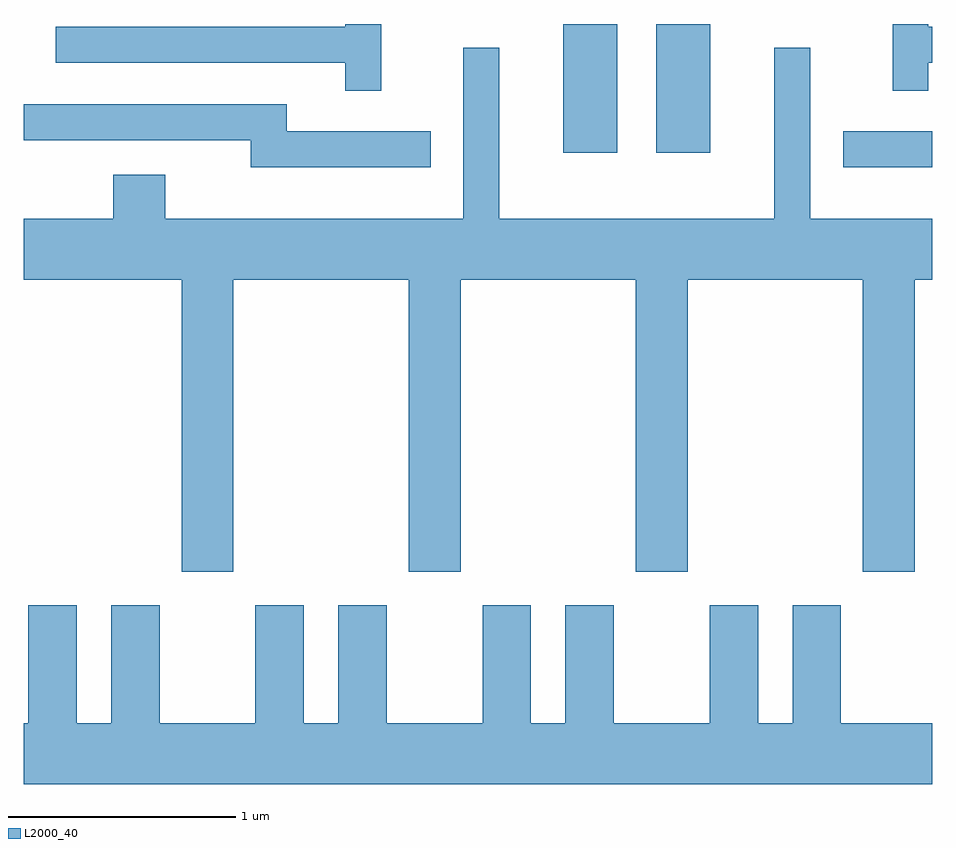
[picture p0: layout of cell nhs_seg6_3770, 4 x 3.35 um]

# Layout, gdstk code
import gdstk
lib = gdstk.Library(unit=1e-6, precision=1e-09)
def R(c, l, rs):  # rectangles x0, y0, x1, y1
    for r in rs: c.add(gdstk.rectangle(r[:2], r[2:], *l))
def P(c, l, *ps):  # polygons
    for p in ps: c.add(gdstk.Polygon(p, *l))
L2000_40 = (2000, 40)

nhs_seg6_3770 = lib.new_cell('nhs_seg6_3770')
R(nhs_seg6_3770, L2000_40, [(301.218,1661.531,301.611,1661.689), (299.986,1661.596,300.224,1662.162), (300.396,1661.596,300.634,1662.162)])
P(nhs_seg6_3770, L2000_40, [(301.594,1661.991),(301.611,1661.991),(301.611,1662.149),(301.594,1662.149),(301.594,1662.162),(301.436,1662.162),(301.436,1661.868),(301.594,1661.868)],
  [(299.184,1662.162),(299.026,1662.162),(299.026,1662.149),(297.753,1662.149),(297.753,1661.991),(299.026,1661.991),(299.026,1661.868),(299.184,1661.868)],
  [(298.534,1661.036),(299.306,1661.036),(299.306,1659.751),(299.534,1659.751),(299.534,1661.036),(300.306,1661.036),(300.306,1659.751),(300.534,1659.751),(300.534,1661.036),(301.306,1661.036),(301.306,1659.751),(301.534,1659.751),(301.534,1661.036),(301.611,1661.036),(301.611,1661.304),(301.074,1661.304),(301.074,1662.058),(300.916,1662.058),(300.916,1661.304),(299.704,1661.304),(299.704,1662.058),(299.546,1662.058),(299.546,1661.304),(298.234,1661.304),(298.234,1661.499),(298.006,1661.499),(298.006,1661.304),(297.611,1661.304),(297.611,1661.036),(298.306,1661.036),(298.306,1659.751),(298.534,1659.751)],
  [(299.403,1661.689),(298.769,1661.689),(298.769,1661.809),(297.611,1661.809),(297.611,1661.651),(298.611,1661.651),(298.611,1661.531),(299.403,1661.531)],
  [(301.611,1659.084),(301.209,1659.084),(301.209,1659.604),(300.996,1659.604),(300.996,1659.084),(300.844,1659.084),(300.844,1659.604),(300.631,1659.604),(300.631,1659.084),(300.209,1659.084),(300.209,1659.604),(299.996,1659.604),(299.996,1659.084),(299.844,1659.084),(299.844,1659.604),(299.631,1659.604),(299.631,1659.084),(299.209,1659.084),(299.209,1659.604),(298.996,1659.604),(298.996,1659.084),(298.844,1659.084),(298.844,1659.604),(298.631,1659.604),(298.631,1659.084),(298.209,1659.084),(298.209,1659.604),(297.996,1659.604),(297.996,1659.084),(297.844,1659.084),(297.844,1659.604),(297.631,1659.604),(297.631,1659.084),(297.611,1659.084),(297.611,1658.816),(301.611,1658.816)])

lib.write_gds('nhs_seg6_3770.gds')
